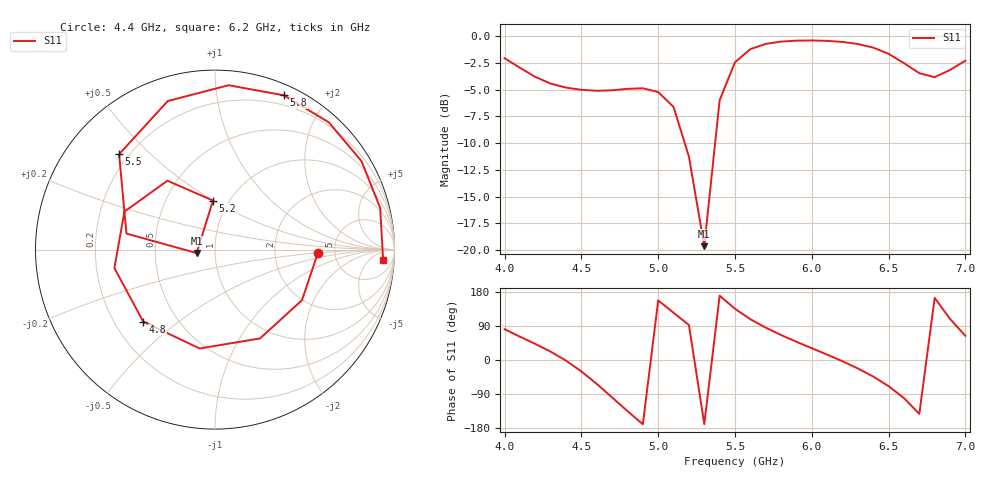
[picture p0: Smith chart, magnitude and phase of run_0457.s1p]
! Touchstone file exported from HFSS 2024.2.0
!  File:  C:/Users/wsak9/Desktop/Sim Fast/Widenad Patch/WP_AI_V1_sweep.aedt
!  Generated:  10:54:44 AM Oct 14, 2026
!  Design:  A1_model
!  Project:  WP_AI_V1_sweep
!  Setup:  Setup1
!  Solution:  Sweep
! Variables:
!  Air_gap = 3.95mm
!  Curve_Amp1 = 2.96
!  Curve_len1 = 1
!  Curve_pos = 11.745mm
!  Extra = 2.44mm
!  H_sub = 0.79mm
!  L_Patch = 19.49mm
!  L_Patch1 = 19.22mm
!  Sx = 0.48mm
!  Sy = 1.7mm
!  WS = 1.3mm
!  W_Patch = 19.83mm
!  W_Patch1 = 16.78mm
!Data is not renormalized
# GHz S MA
! Terminal data exported
! Port[1] = 1
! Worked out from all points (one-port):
!   31 points, 4 GHz to 7 GHz, reference per port
!   lowest |S11| = -19.6 dB at 5.3 GHz (marker M1), VSWR 1.23
!   |S11| at or under -10 dB: 5.173 GHz to 5.371 GHz (198 MHz wide, 3.76 % of centre)
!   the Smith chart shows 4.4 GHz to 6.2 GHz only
!   S11 on the Smith chart (normalised r, x): 4.4 GHz: 3.68, -0.19; 4.8 GHz: 0.32, -0.38; 5.2 GHz: 0.84, +0.50; 5.5 GHz: 0.16, +0.40; 5.8 GHz: 0.10, +1.54; 6.2 GHz: 17, -16
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4  0.7877 81.2
4.2  0.6439 42.3
4.4  0.574 -1.7
4.5  0.5606 -30.2
4.6  0.5549 -63.1
4.7  0.5577 -98.8
4.8  0.5665 -134.9
4.9  0.5699 -169.6
5  0.5473 157.3
5.1  0.4663 124.6
5.2  0.2733 92.3
5.3  0.1043 -169.3
5.4  0.5014 169.7
5.5  0.7537 135.1
5.6  0.8684 107.6
5.7  0.9188 85.3
5.8  0.9416 65.9
5.9  0.9513 48.1
6.1  0.9492 14.2
6.2  0.9382 -3.4
6.3  0.9177 -22.3
6.4  0.8826 -43.7
6.5  0.8256 -69.1
6.6  0.7471 -100.6
6.7  0.6702 -142.2
6.8  0.6423 163.9
6.9  0.6938 108.4
7  0.767 63.8
